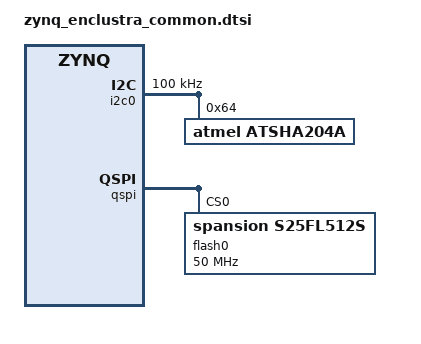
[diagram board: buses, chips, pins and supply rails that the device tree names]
// SPDX-License-Identifier: GPL-2.0+
/*
 *  Copyright (C) 2020 Enclustra GmbH
 *
 * This software is licensed under the terms of the GNU General Public
 * License version 2, as published by the Free Software Foundation, and
 * may be copied, distributed, and modified under those terms.
 *
 * This program is distributed in the hope that it will be useful,
 * but WITHOUT ANY WARRANTY; without even the implied warranty of
 * MERCHANTABILITY or FITNESS FOR A PARTICULAR PURPOSE.  See the
 * GNU General Public License for more details.
 */

&i2c0 {
	clock-frequency = <100000>;

	atsha204a@64 {
		compatible = "atmel,atsha204a";
		reg = <0x64>;
	};
};

&qspi {
	#address-cells = <1>;
	#size-cells = <0>;
	is-dual = <0>;
	num-cs = <1>;
	flash0: flash@0 {
		reg = <0x0>;
		compatible = "spansion,s25fl512s", "jedec,spi-nor";
		spi-rx-bus-width = <0x4>;
		spi-tx-bus-width = <0x4>;
		spi-max-frequency = <50000000>;
		#address-cells = <1>;
		#size-cells = <1>;
	};
};

&uart0 {
	cts-override ;
	device_type = "serial";
	port-number = <0>;
};

&clkc {
	fclk-enable = <0xF>;
	ps-clk-frequency = <33333333>;
};
